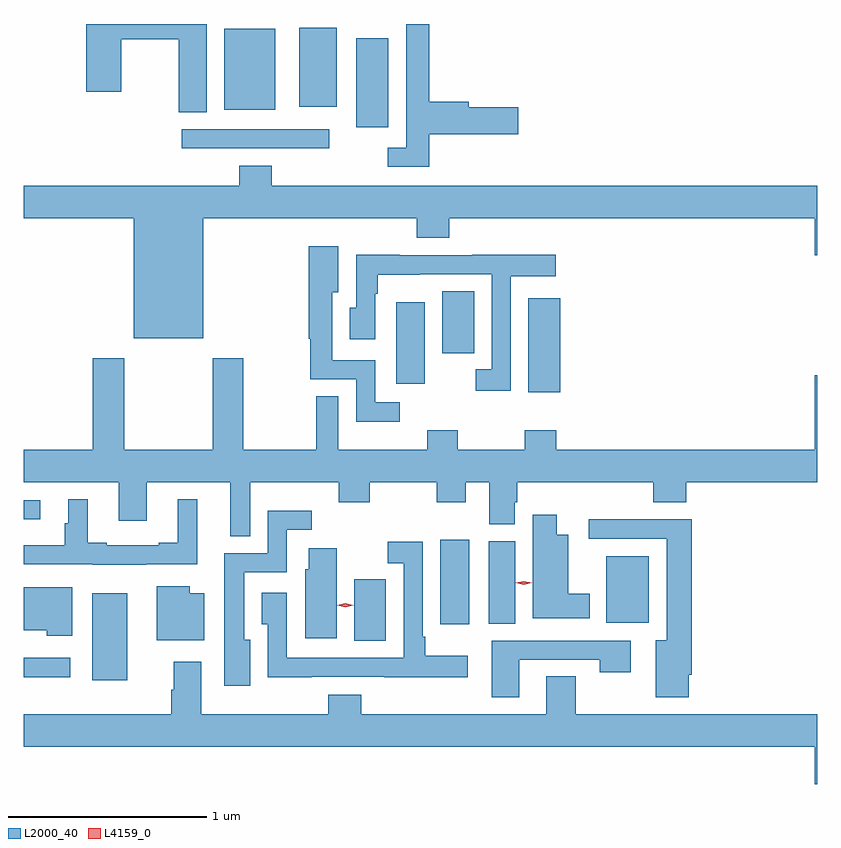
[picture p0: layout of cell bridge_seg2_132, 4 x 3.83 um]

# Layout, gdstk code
import gdstk
lib = gdstk.Library(unit=1e-6, precision=1e-09)
def R(c, l, rs):  # rectangles x0, y0, x1, y1
    for r in rs: c.add(gdstk.rectangle(r[:2], r[2:], *l))
def P(c, l, *ps):  # polygons
    for p in ps: c.add(gdstk.Polygon(p, *l))
L2000_40 = (2000, 40)
L4159_0 = (4159, 0)

bridge_seg2_132 = lib.new_cell('bridge_seg2_132')
R(bridge_seg2_132, L2000_40, [(425.102,593.36,425.278,593.797), (424.757,593.375,424.993,593.473), (426.422,593.557,426.583,593.868), (426.857,593.64,427.003,594.067), (427.1,593.644,427.234,594.06), (427.694,593.648,427.906,593.983), (424.757,594.17,424.84,594.267), (427.301,594.81,427.462,595.285), (426.635,594.852,426.778,595.264), (426.866,595.008,427.027,595.319), (425.553,596.04,426.298,596.136), (426.434,596.145,426.595,596.593), (425.768,596.234,426.025,596.641), (426.146,596.249,426.334,596.647)])
P(bridge_seg2_132, L2000_40, [(426.8,596.111),(427.249,596.111),(427.249,596.246),(427,596.246),(427,596.275),(426.8,596.275),(426.8,596.666),(426.684,596.666),(426.684,596.043),(426.591,596.043),(426.591,595.947),(426.8,595.947)],
  [(425.68,596.666),(425.072,596.666),(425.072,596.325),(425.25,596.325),(425.25,596.59),(425.539,596.59),(425.539,596.221),(425.68,596.221)],
  [(425.662,595.688),(426.737,595.688),(426.737,595.589),(426.902,595.589),(426.902,595.688),(428.744,595.688),(428.744,595.5),(428.757,595.5),(428.757,595.852),(426.008,595.852),(426.008,595.951),(425.843,595.951),(425.843,595.852),(424.757,595.852),(424.757,595.688),(425.312,595.688),(425.312,595.082),(425.662,595.082)],
  [(426.652,594.759),(426.528,594.759),(426.528,594.972),(426.313,594.972),(426.313,595.313),(426.343,595.313),(426.343,595.546),(426.195,595.546),(426.195,595.079),(426.202,595.079),(426.202,594.876),(426.432,594.876),(426.432,594.662),(426.652,594.662)],
  [(427.212,595.394),(427.438,595.394),(427.438,595.502),(427.019,595.502),(427.019,595.5),(426.653,595.5),(426.653,595.502),(426.432,595.502),(426.432,595.236),(426.401,595.236),(426.401,595.077),(426.528,595.077),(426.528,595.307),(426.541,595.307),(426.541,595.403),(426.753,595.403),(426.753,595.404),(427.116,595.404),(427.116,594.927),(427.035,594.927),(427.035,594.819),(427.212,594.819)],
  [(425.899,594.356),(426.346,594.356),(426.346,594.257),(426.501,594.257),(426.501,594.356),(426.838,594.356),(426.838,594.257),(426.985,594.257),(426.985,594.356),(427.103,594.356),(427.103,594.145),(427.231,594.145),(427.231,594.255),(427.244,594.255),(427.244,594.356),(427.931,594.356),(427.931,594.257),(428.096,594.257),(428.096,594.356),(428.757,594.356),(428.757,594.895),(428.744,594.895),(428.744,594.52),(427.442,594.52),(427.442,594.619),(427.282,594.619),(427.282,594.52),(426.945,594.52),(426.945,594.619),(426.79,594.619),(426.79,594.52),(426.343,594.52),(426.343,594.791),(426.232,594.791),(426.232,594.52),(425.865,594.52),(425.865,594.982),(425.71,594.982),(425.71,594.52),(425.265,594.52),(425.265,594.982),(425.105,594.982),(425.105,594.52),(424.757,594.52),(424.757,594.356),(425.237,594.356),(425.237,594.162),(425.377,594.162),(425.377,594.356),(425.798,594.356),(425.798,594.085),(425.899,594.085)],
  [(425.374,593.943),(425.632,593.943),(425.632,594.271),(425.534,594.271),(425.534,594.052),(425.438,594.052),(425.438,594.039),(425.176,594.039),(425.176,594.052),(425.08,594.052),(425.08,594.271),(424.982,594.271),(424.982,594.15),(424.963,594.15),(424.963,594.04),(424.757,594.04),(424.757,593.943),(425.106,593.943),(425.106,593.942),(425.374,593.942)],
  [(425.899,593.563),(425.869,593.563),(425.869,593.904),(426.084,593.904),(426.084,594.117),(426.208,594.117),(426.208,594.214),(425.988,594.214),(425.988,594),(425.768,594),(425.768,593.331),(425.899,593.331)],
  [(427.609,593.794),(427.501,593.794),(427.501,594.091),(427.444,594.091),(427.444,594.193),(427.322,594.193),(427.322,593.672),(427.609,593.672)],
  [(428.11,593.386),(428.123,593.386),(428.123,594.17),(427.605,594.17),(427.605,594.072),(427.997,594.072),(427.997,593.56),(427.943,593.56),(427.943,593.274),(428.11,593.274)],
  [(426.209,593.376),(426.575,593.376),(426.575,593.375),(426.994,593.375),(426.994,593.482),(426.781,593.482),(426.781,593.578),(426.768,593.578),(426.768,594.058),(426.591,594.058),(426.591,593.949),(426.672,593.949),(426.672,593.472),(426.084,593.472),(426.084,593.8),(425.957,593.8),(425.957,593.641),(425.988,593.641),(425.988,593.375),(426.209,593.375)],
  [(426.334,594.025),(426.194,594.025),(426.194,593.919),(426.176,593.919),(426.176,593.571),(426.334,593.571)],
  [(425.668,593.797),(425.593,593.797),(425.593,593.833),(425.429,593.833),(425.429,593.561),(425.668,593.561)],
  [(425.002,593.827),(424.757,593.827),(424.757,593.612),(424.873,593.612),(424.873,593.582),(425.002,593.582)],
  [(427.255,593.463),(427.66,593.463),(427.66,593.4),(427.816,593.4),(427.816,593.559),(427.115,593.559),(427.115,593.274),(427.255,593.274)],
  [(428.757,593.188),(427.539,593.188),(427.539,593.378),(427.391,593.378),(427.391,593.188),(426.458,593.188),(426.458,593.287),(426.293,593.287),(426.293,593.188),(425.653,593.188),(425.653,593.452),(425.513,593.452),(425.513,593.312),(425.501,593.312),(425.501,593.188),(424.757,593.188),(424.757,593.024),(428.744,593.024),(428.744,592.836),(428.757,592.836)])
P(bridge_seg2_132, L4159_0, [(427.278,593.839),(427.237,593.849),(427.237,593.849),(427.237,593.849),(427.278,593.859),(427.318,593.849),(427.318,593.849),(427.318,593.849)],
  [(426.378,593.726),(426.337,593.736),(426.337,593.736),(426.337,593.736),(426.378,593.746),(426.419,593.736),(426.419,593.736),(426.419,593.736)])

lib.write_gds('bridge_seg2_132.gds')
